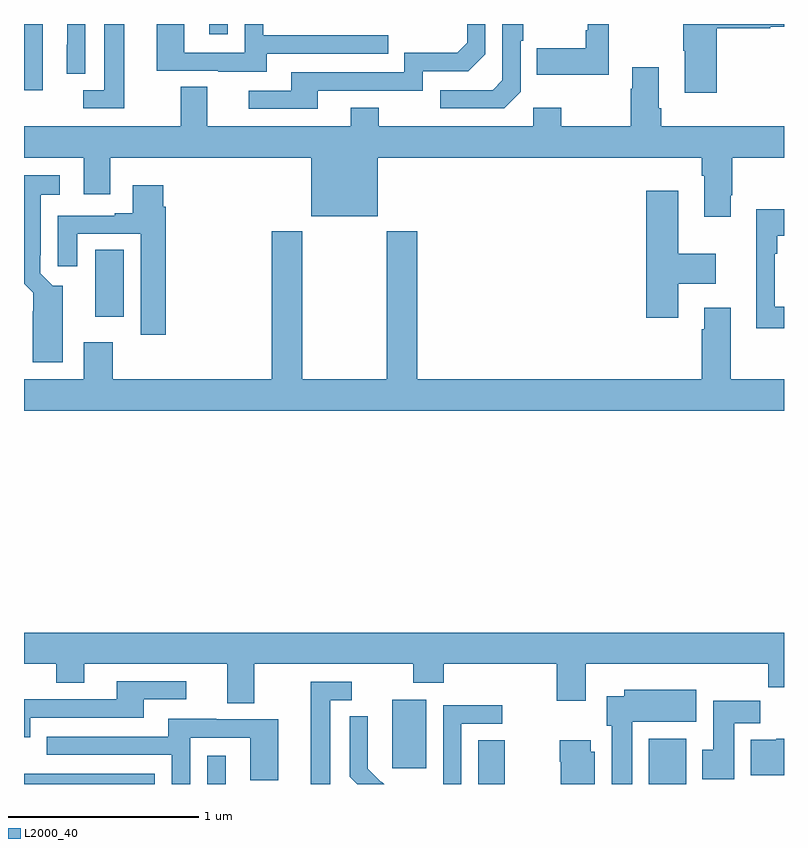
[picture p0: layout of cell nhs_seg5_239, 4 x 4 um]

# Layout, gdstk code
import gdstk
lib = gdstk.Library(unit=1e-6, precision=1e-09)
def R(c, l, rs):  # rectangles x0, y0, x1, y1
    for r in rs: c.add(gdstk.rectangle(r[:2], r[2:], *l))
def P(c, l, *ps):  # polygons
    for p in ps: c.add(gdstk.Polygon(p, *l))
L2000_40 = (2000, 40)

nhs_seg5_239 = lib.new_cell('nhs_seg5_239')
R(nhs_seg5_239, L2000_40, [(125,850.799,125.688,850.854), (125.964,850.799,126.061,850.948), (127.391,850.799,127.53,851.03), (128.288,850.799,128.485,851.038), (126.938,850.881,127.117,851.242), (125.375,853.257,125.524,853.61), (125,854.45,125.098,854.799), (125.975,854.745,126.072,854.799)])
P(nhs_seg5_239, L2000_40, [(128.645,854.776),(128.928,854.776),(128.928,854.784),(129,854.784),(129,854.799),(128.47,854.799),(128.47,854.659),(128.477,854.659),(128.477,854.436),(128.645,854.436)],
  [(126.277,854.643),(126.917,854.643),(126.917,854.739),(126.258,854.739),(126.258,854.799),(126.162,854.799),(126.162,854.649),(125.844,854.649),(125.844,854.799),(125.699,854.799),(125.699,854.553),(126.023,854.553),(126.023,854.549),(126.277,854.549)],
  [(128.077,854.799),(127.968,854.799),(127.968,854.767),(127.956,854.767),(127.956,854.671),(127.699,854.671),(127.699,854.531),(128.077,854.531)],
  [(125.527,854.799),(125.423,854.799),(125.423,854.451),(125.313,854.451),(125.313,854.355),(125.527,854.355)],
  [(127.614,854.442),(127.614,854.711),(127.627,854.711),(127.627,854.799),(127.518,854.799),(127.518,854.502),(127.467,854.451),(127.191,854.451),(127.191,854.355),(127.527,854.355)],
  [(125.322,854.799),(125.228,854.799),(125.228,854.69),(125.226,854.69),(125.226,854.536),(125.322,854.536)],
  [(126.547,854.448),(127.098,854.448),(127.098,854.55),(127.338,854.55),(127.428,854.64),(127.428,854.799),(127.332,854.799),(127.332,854.7),(127.279,854.647),(127.002,854.647),(127.002,854.544),(126.407,854.544),(126.407,854.448),(126.183,854.448),(126.183,854.352),(126.547,854.352)],
  [(128.719,853.897),(128.727,853.897),(128.727,854.096),(129,854.096),(129,854.26),(128.354,854.26),(128.354,854.356),(128.341,854.356),(128.341,854.572),(128.201,854.572),(128.201,854.459),(128.194,854.459),(128.194,854.26),(127.827,854.26),(127.827,854.359),(127.68,854.359),(127.68,854.26),(126.867,854.26),(126.867,854.359),(126.719,854.359),(126.719,854.26),(125.965,854.26),(125.965,854.468),(125.825,854.468),(125.825,854.26),(125,854.26),(125,854.096),(125.315,854.096),(125.315,853.902),(125.455,853.902),(125.455,854.096),(126.512,854.096),(126.512,853.787),(126.862,853.787),(126.862,854.096),(128.567,854.096),(128.567,854),(128.579,854),(128.579,853.785),(128.719,853.785)],
  [(125.203,853.422),(125.151,853.422),(125.085,853.488),(125.085,853.582),(125.089,853.582),(125.089,853.901),(125.188,853.901),(125.188,854.002),(125,854.002),(125,853.433),(125.049,853.384),(125.049,853.286),(125.045,853.286),(125.045,853.019),(125.203,853.019)],
  [(125.747,853.838),(125.734,853.838),(125.734,853.951),(125.573,853.951),(125.573,853.804),(125.477,853.804),(125.477,853.791),(125.177,853.791),(125.177,853.524),(125.281,853.524),(125.281,853.695),(125.615,853.695),(125.615,853.164),(125.747,853.164)],
  [(128.443,853.433),(128.641,853.433),(128.641,853.591),(128.443,853.591),(128.443,853.921),(128.276,853.921),(128.276,853.254),(128.443,853.254)],
  [(129,853.31),(128.952,853.31),(128.952,853.589),(128.965,853.589),(128.965,853.685),(129,853.685),(129,853.825),(128.855,853.825),(128.855,853.197),(129,853.197)],
  [(129,852.928),(128.719,852.928),(128.719,853.306),(128.579,853.306),(128.579,853.193),(128.567,853.193),(128.567,852.928),(127.07,852.928),(127.07,853.708),(126.91,853.708),(126.91,852.928),(126.465,852.928),(126.465,853.708),(126.305,853.708),(126.305,852.928),(125.468,852.928),(125.468,853.123),(125.315,853.123),(125.315,852.928),(125,852.928),(125,852.764),(129,852.764)],
  [(126.211,851.432),(127.048,851.432),(127.048,851.333),(127.208,851.333),(127.208,851.432),(127.805,851.432),(127.805,851.238),(127.957,851.238),(127.957,851.432),(128.917,851.432),(128.917,851.308),(129,851.308),(129,851.596),(125,851.596),(125,851.432),(125.17,851.432),(125.17,851.333),(125.317,851.333),(125.317,851.432),(126.071,851.432),(126.071,851.224),(126.211,851.224)],
  [(125.034,851.148),(125.629,851.148),(125.629,851.244),(125.854,851.244),(125.854,851.34),(125.489,851.34),(125.489,851.244),(125,851.244),(125,851.045),(125.034,851.045)],
  [(126.613,851.241),(126.724,851.241),(126.724,851.337),(126.509,851.337),(126.509,850.799),(126.613,850.799)],
  [(128.2,851.126),(128.539,851.126),(128.539,851.296),(128.159,851.296),(128.159,851.26),(128.066,851.26),(128.066,851.106),(128.093,851.106),(128.093,850.799),(128.2,850.799)],
  [(128.737,851.12),(128.876,851.12),(128.876,851.238),(128.627,851.238),(128.627,850.98),(128.57,850.98),(128.57,850.824),(128.737,850.824)],
  [(127.302,851.115),(127.516,851.115),(127.516,851.214),(127.206,851.214),(127.206,850.799),(127.302,850.799)],
  [(126.882,850.812),(126.879,850.809),(126.809,850.88),(126.809,851.002),(126.81,851.002),(126.81,851.156),(126.714,851.156),(126.714,850.838),(126.753,850.799),(126.895,850.799)],
  [(125.874,851.043),(126.192,851.043),(126.192,850.819),(126.337,850.819),(126.337,851.139),(126.013,851.139),(126.013,851.143),(125.759,851.143),(125.759,851.049),(125.119,851.049),(125.119,850.953),(125.778,850.953),(125.778,850.799),(125.874,850.799)],
  [(129,851.038),(128.958,851.038),(128.958,851.032),(128.825,851.032),(128.825,850.844),(129,850.844)],
  [(128.005,850.968),(127.984,850.968),(127.984,851.029),(127.819,851.029),(127.819,850.916),(127.826,850.916),(127.826,850.799),(128.005,850.799)])

lib.write_gds('nhs_seg5_239.gds')
